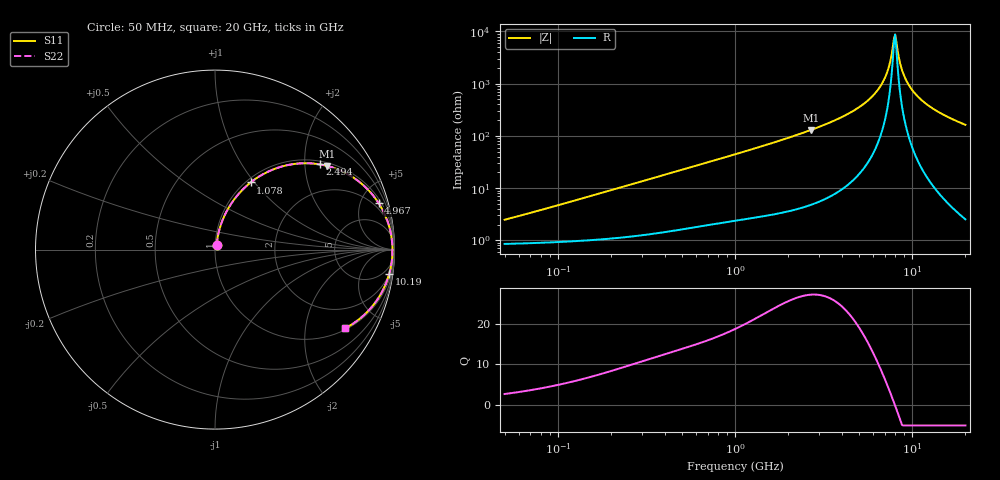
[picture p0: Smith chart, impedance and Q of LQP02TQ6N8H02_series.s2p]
!Murata Part Number: LQP02TQ6N8H02
!These Parameters are Measured in Series Mode Connection
!  o--[Z]--o
!Port1  Port2
!  o-------o
!Freq. Start=50[MHz] Stop=20[GHz], 401[Steps]
# Hz S RI R 50
!Freq.(Hz) S11(Real) S11(Imag) S21(Real) S21(Imag) S12(Real) S12(Imag) S22(Real) S22(Imag)
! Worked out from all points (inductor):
!   401 points, 50 MHz to 20 GHz, reference 50 ohm
!   read as one part in series: L = 7.37 nH near 56.37 MHz
!   highest Q = 27.2 at 2.687 GHz (marker M1), where L = 7.71 nH
!   self-resonance near 7.902 GHz
!   S11 on the Smith chart (normalised r, x): 50 MHz: 1.02, +0.05; 1.078 GHz: 1.05, +0.96; 2.494 GHz: 1.09, +2.37; 4.967 GHz: 1.36, +6.91; 10.19 GHz: 2, -14; 20 GHz: 1.05, -3.27
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5e7  0.009 0.0229  0.991 -0.0229  0.991 -0.0229  0.009 0.0229
1.364002e8  0.0135 0.061  0.9865 -0.061  0.9865 -0.061  0.0135 0.061
3.721004e8  0.0398 0.1583  0.9602 -0.1583  0.9602 -0.1583  0.0398 0.1583
1e9  0.1773 0.3561  0.8227 -0.3561  0.8227 -0.3561  0.1773 0.3561
1.077769e9  0.1984 0.3739  0.8016 -0.3739  0.8016 -0.3739  0.1984 0.3739
2.493527e9  0.5823 0.475  0.4177 -0.475  0.4177 -0.475  0.5823 0.475
2.687447e9  0.6246 0.4662  0.3754 -0.4662  0.3754 -0.4662  0.6246 0.4662
2.728004e9  0.633 0.4639  0.367 -0.4639  0.367 -0.4639  0.633 0.4639
3.792786e9  0.8055 0.3764  0.1945 -0.3764  0.1945 -0.3764  0.8055 0.3764
4.966507e9  0.9116 0.2592  0.0884 -0.2592  0.0884 -0.2592  0.9116 0.2592
6.406762e9  0.9714 0.1254  0.0286 -0.1254  0.0286 -0.1254  0.9714 0.1254
7.009217e9  0.9824 0.0752  0.0176 -0.0752  0.0176 -0.0752  0.9824 0.0752
7.442007e9  0.9867 0.0413  0.0133 -0.0413  0.0133 -0.0413  0.9867 0.0413
7.784049e9  0.9884 0.0158  0.0116 -0.0158  0.0116 -0.0158  0.9884 0.0158
8.020766e9  0.9888 -0.00128  0.0112 0.00128  0.0112 0.00128  0.9888 -0.00128
8.141811e9  0.9888 -0.00982  0.0112 0.00982  0.0112 0.00982  0.9888 -0.00982
8.516016e9  0.9878 -0.0354  0.0122 0.0354  0.0122 0.0354  0.9878 -0.0354
8.907419e9  0.9854 -0.061  0.0146 0.061  0.0146 0.061  0.9854 -0.061
9.457416e9  0.9802 -0.0949  0.0198 0.0949  0.0198 0.0949  0.9802 -0.0949
1.019291e10  0.9703 -0.1368  0.0297 0.1368  0.0297 0.1368  0.9703 -0.1368
1.334722e10  0.9042 -0.2789  0.0958 0.2789  0.0958 0.2789  0.9042 -0.2789
2e10  0.7243 -0.4392  0.2757 0.4392  0.2757 0.4392  0.7243 -0.4392
